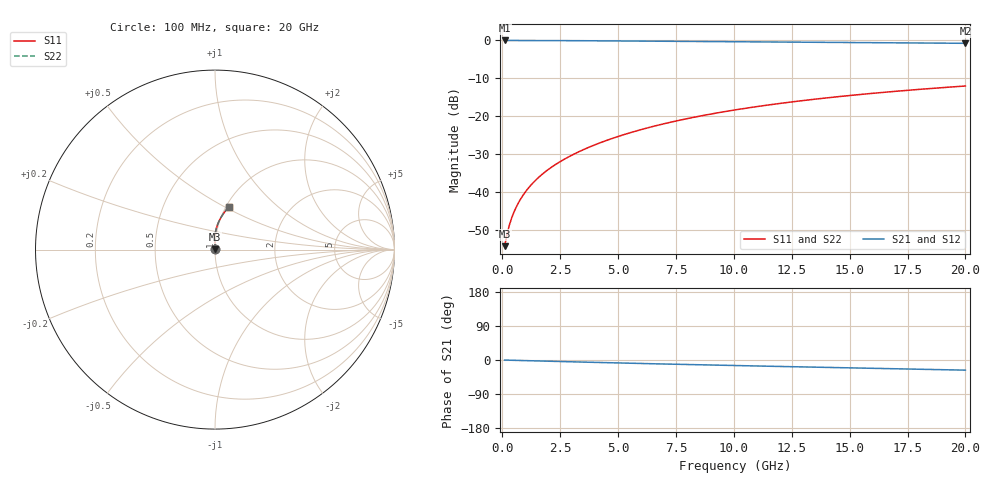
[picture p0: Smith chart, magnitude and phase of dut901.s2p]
! Touchstone file exported from HFSS 2024.1.0
!  File:  C:/UserFiles/LocalFiles/RDL_TSV_Batchsim/temp_RDL_bottom_901_1779940018.aedt
!  Generated:  11:49:40 AM May 28, 2026
!  Design:  RDL_bottom
!  Project:  temp_RDL_bottom_901_1779940018
!  Setup:  Setup1
!  Solution:  Sweep
! Variables:
!  dtsv = 10.80580581um
!  hbump = 3um
!  htsv = 73.95um
!  ldown = 360.4um
!  lrdl = 100um
!  p = 40
!  p1 = 55.06um
!  rhole = 1um
!  t = 450um
!  tdown = 3.41um
!  trdl = 3.915915916um
!  wdown = 27.94um
!  wrdl = 20um
# GHz S MA R 50.000000
! Terminal data exported
! Port[1] = RDL1_T1
! Port[2] = RDL1_T2
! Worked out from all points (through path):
!   200 points, 100 MHz to 20 GHz, reference 50 ohm
!   highest |S21| = -0.01 dB at 100 MHz (marker M1); lowest = -0.8 dB at 20 GHz (marker M2)
!   group delay of S21, straight-line fit = 3.66 ps
!   lowest |S11| = -54.2 dB at 100 MHz (marker M3), VSWR 1.00, Z = 50.2 + j0.113 ohm
!   |S11| at or under -10 dB: start of sweep to end of sweep
!   |S22| runs from -54.2 to -12.0 dB; largest |S21 - S12| = 2.2e-15
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0.1  0.001954 35.1  0.9984 -0.2  0.9984 -0.2  0.001954 35.1
! Gamma 0 0 0 0
! Port Impedance 50 0 50 0
0.2  0.002764 52.3  0.9983 -0.3  0.9983 -0.3  0.002764 52.3
0.3  0.003652 60.9  0.9981 -0.5  0.9981 -0.5  0.003652 60.9
0.4  0.00455 66.3  0.998 -0.7  0.998 -0.7  0.00455 66.3
0.5  0.005457 70.1  0.9979 -0.8  0.9979 -0.8  0.005457 70.1
0.6  0.006373 73.0  0.9978 -1.0  0.9978 -1.0  0.006373 73.0
0.8  0.008239 77.1  0.9975 -1.3  0.9975 -1.3  0.008239 77.1
1.1  0.01111 81.0  0.9971 -1.8  0.9971 -1.8  0.01111 81.0
1.3  0.01306 82.8  0.9968 -2.1  0.9968 -2.1  0.01306 82.8
1.6  0.01604 84.8  0.9962 -2.6  0.9962 -2.6  0.01604 84.8
2.1  0.02115 87.1  0.995 -3.4  0.995 -3.4  0.02115 87.1
2.7  0.02752 88.8  0.9932 -4.3  0.9932 -4.3  0.02752 88.8
3.5  0.03642 90.1  0.9904 -5.6  0.9904 -5.6  0.03642 90.1
4.2  0.04459 90.7  0.9875 -6.6  0.9875 -6.6  0.04459 90.7
5  0.05433 90.9  0.984 -7.8  0.984 -7.8  0.05434 90.9
6.8  0.07751 90.0  0.9756 -10.3  0.9756 -10.3  0.07751 90.0
8.4  0.09902 88.3  0.9679 -12.5  0.9679 -12.5  0.09903 88.3
10.1  0.1222 86.0  0.96 -14.7  0.96 -14.7  0.1223 86.0
11.7  0.1441 83.7  0.9527 -16.7  0.9527 -16.7  0.1441 83.7
13.4  0.167 81.2  0.9451 -18.8  0.9451 -18.8  0.167 81.2
16.7  0.2102 76.3  0.9305 -22.8  0.9305 -22.8  0.2102 76.3
20  0.251 71.6  0.9159 -26.8  0.9159 -26.8  0.251 71.6
